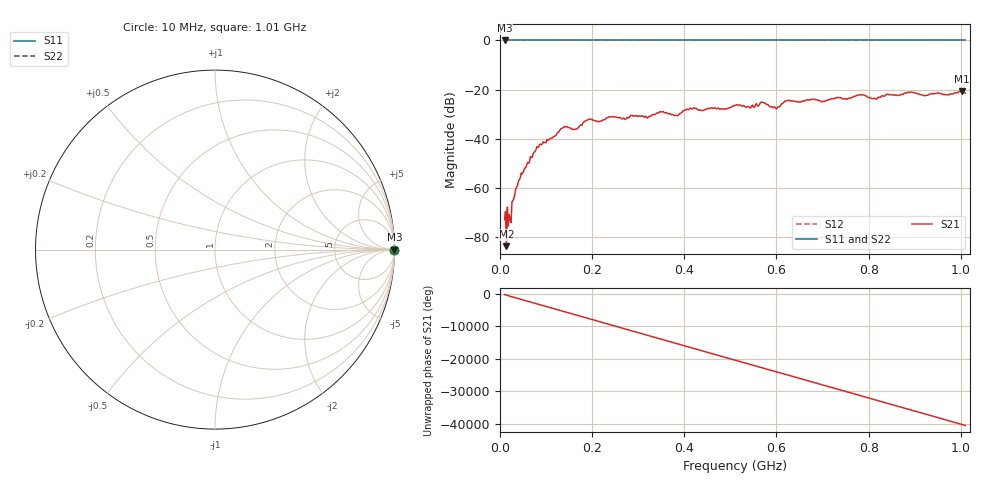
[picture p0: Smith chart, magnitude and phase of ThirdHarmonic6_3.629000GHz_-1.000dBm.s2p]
! 8/17/2025 12:10:04 PM
! C:\ANRITSUVNA\TEMP\TEMP.S2P
! CHANNEL.1
! TR.MEASUREMENT
! RAW.DATA
! RF.CORRECTION.OFF
! AVERAGING.OFF
! IF.BANDWIDTH: 5KHZ
! SWEEPTYPE:  FREQ.SWEEP(Linear)
! Reference Plane Port Info
! PORT:  PORT1  PORT2
! DISTANCE:  0  m  0  m
! TIME:  0  s  0  s
! PHASE.OFFSET:  0  deg.  0  deg.
! LOSS:  0  dB  0  dB
! REF.LOSS:  0  dB  0  dB
! REF.FREQ:  0  Hz  0  Hz
! Power Info
! POWER:  -20  dBm  -20  dBm
! EFF.POWER:  -20  dBm  -20  dBm
! SOURCE.ATTEN:  0  dB  0  dB
! TEST.ATTEN:  0  dB  0  dB
# GHZ S RI R 50.0
! FREQ.GHZ  S11RE  S11IM  S21RE  S21IM  S12RE  S12IM  S22RE  S22IM
!; PortSelection: Port_12
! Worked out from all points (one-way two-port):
!   501 points, 10 MHz to 1.01 GHz, reference 50 ohm
!   highest |S21| = -20.69 dB at 1.002 GHz (marker M1); lowest = -83.6 dB at 14 MHz (marker M2)
!   lowest |S11| = 0.0 dB at 10 MHz (marker M3)
!   |S11| at or under -10 dB: nowhere
!   |S22| runs from 0.0 to 0.0 dB; largest |S21 - S12| = 1.1
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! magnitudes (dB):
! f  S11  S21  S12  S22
! 10 MHz  0.0  -72.9  0.0  0.0
! 14 MHz  0.0  -83.6  0.0  0.0
! 22 MHz  0.0  -72.9  0.0  0.0
! 30 MHz  0.0  -64.3  0.0  0.0
! 44 MHz  0.0  -55.8  0.0  0.0
! 82 MHz  0.0  -43.5  0.0  0.0
! 136 MHz  0.0  -35.6  0.0  0.0
! 164 MHz  0.0  -36.1  0.0  0.0
! 178 MHz  0.0  -34.4  0.0  0.0
! 194 MHz  0.0  -32.0  0.0  0.0
! 322 MHz  0.0  -31.0  0.0  0.0
! 344 MHz  0.0  -29.5  0.0  0.0
! 382 MHz  0.0  -30.5  0.0  0.0
! 416 MHz  0.0  -27.9  0.0  0.0
! 510 MHz  0.0  -26.4  0.0  0.0
! 570 MHz  0.0  -25.2  0.0  0.0
! 602 MHz  0.0  -27.2  0.0  0.0
! 622 MHz  0.0  -24.6  0.0  0.0
! 678 MHz  0.0  -24.0  0.0  0.0
! 844 MHz  0.0  -22.1  0.0  0.0
! 1.002 GHz  0.0  -20.7  0.0  0.0
! 1.01 GHz  0.0  -21.5  0.0  0.0
